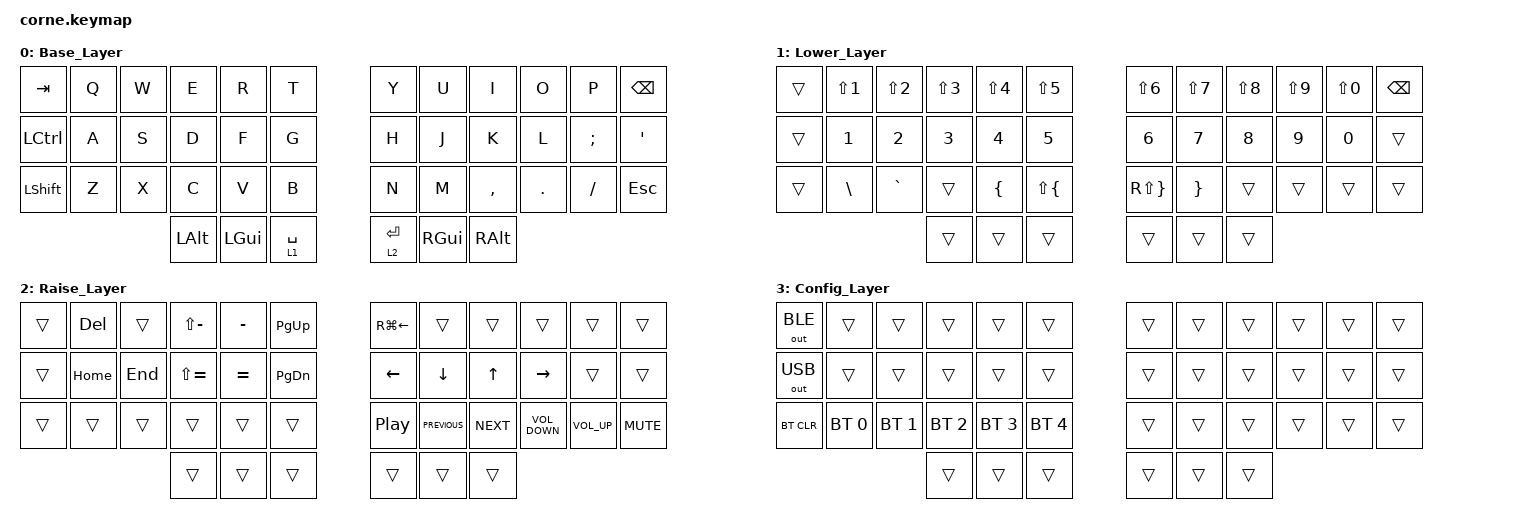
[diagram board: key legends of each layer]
/*
 * Copyright (c) 2020 The ZMK Contributors
 *
 * SPDX-License-Identifier: MIT
 */

#include <behaviors.dtsi>
#include <dt-bindings/zmk/bt.h>
#include <dt-bindings/zmk/keys.h>
#include <dt-bindings/zmk/outputs.h>

/ {
    combos {
        compatible = "zmk,combos";

        qw_esc_combo {
            bindings = <&kp ESCAPE>;
            key-positions = <1 2>;
            timeout-ms = <100>;
            require-prior-idle-ms = <20>;
            slow-release;
            layers = <0>;
        };
    };

    keymap {
        compatible = "zmk,keymap";

        Base_Layer {
            // -----------------------------------------------------------------------------------------
            // |  TAB |  Q  |  W  |  E  |  R  |  T  |   |  Y  |  U   |  I  |  O  |  P  | BSPC |
            // | CTRL |  A  |  S  |  D  |  F  |  G  |   |  H  |  J   |  K  |  L  |  ;  |  '   |
            // | SHFT |  Z  |  X  |  C  |  V  |  B  |   |  N  |  M   |  ,  |  .  |  /  | ESC  |
            //                    | GUI | LWR | SPC |   | ENT | RSE  | ALT |

            bindings = <
&kp TAB    &kp Q  &kp W  &kp E         &kp R         &kp T          &kp Y        &kp U          &kp I          &kp O    &kp P     &kp BSPC
&kp LCTRL  &kp A  &kp S  &kp D         &kp F         &kp G          &kp H        &kp J          &kp K          &kp L    &kp SEMI  &kp SQT
&kp LSHFT  &kp Z  &kp X  &kp C         &kp V         &kp B          &kp N        &kp M          &kp COMMA      &kp DOT  &kp FSLH  &kp ESC
                         &kp LEFT_ALT  &kp LEFT_GUI  &lt 1 SPACE    &lt 2 ENTER  &kp RIGHT_GUI  &kp RIGHT_ALT
            >;
        };

        Lower_Layer {
            // -----------------------------------------------------------------------------------------
            // |  TAB |  1  |  2  |  3  |  4  |  5  |   |  6  |  7  |  8  |  9  |  0  | BSPC |
            // | BTCLR| BT1 | BT2 | BT3 | BT4 | BT5 |   | LFT | DWN |  UP | RGT |     |      |
            // | SHFT |     |     |     |     |     |   |     |     |     |     |     |      |
            //                    | GUI |     | SPC |   | ENT |     | ALT |

            bindings = <
&trans  &kp LS(N1)     &kp LS(N2)  &kp LS(N3)  &kp LS(N4)      &kp LS(N5)            &kp LS(N6)           &kp LS(N7)       &kp LS(N8)  &kp LS(N9)  &kp LS(N0)  &kp BSPC
&trans  &kp N1         &kp N2      &kp N3      &kp N4          &kp N5                &kp N6               &kp N7           &kp N8      &kp N9      &kp N0      &trans
&trans  &kp BACKSLASH  &kp GRAVE   &trans      &kp LEFT_BRACE  &kp LS(LEFT_BRACE)    &kp RS(RIGHT_BRACE)  &kp RIGHT_BRACE  &trans      &trans      &trans      &trans
                                   &trans      &trans          &trans                &trans               &trans           &trans
            >;
        };

        Raise_Layer {
            bindings = <
&trans  &kp DEL   &trans   &kp LS(MINUS)  &kp MINUS  &kp PAGE_UP      &kp RG(LEFT_ARROW)  &trans          &trans        &trans             &trans           &trans
&trans  &kp HOME  &kp END  &kp LS(EQUAL)  &kp EQUAL  &kp PAGE_DOWN    &kp LEFT            &kp DOWN_ARROW  &kp UP_ARROW  &kp RIGHT          &trans           &trans
&trans  &trans    &trans   &trans         &trans     &trans           &kp C_PLAY_PAUSE    &kp C_PREVIOUS  &kp C_NEXT    &kp C_VOLUME_DOWN  &kp C_VOLUME_UP  &kp C_MUTE
                           &trans         &trans     &trans           &trans              &trans          &trans
            >;
        };

        Config_Layer {
            bindings = <
&out OUT_BLE  &trans        &trans        &trans        &trans        &trans          &trans  &trans  &trans  &trans  &trans  &trans
&out OUT_USB  &trans        &trans        &trans        &trans        &trans          &trans  &trans  &trans  &trans  &trans  &trans
&bt BT_CLR    &bt BT_SEL 0  &bt BT_SEL 1  &bt BT_SEL 2  &bt BT_SEL 3  &bt BT_SEL 4    &trans  &trans  &trans  &trans  &trans  &trans
                                          &trans        &trans        &trans          &trans  &trans  &trans
            >;
        };
    };

    conditional_layers {
        compatible = "zmk,conditional-layers";

        tri-layer {
            if-layers = <1 2>;
            then-layer = <3>;
        };
    };
};
